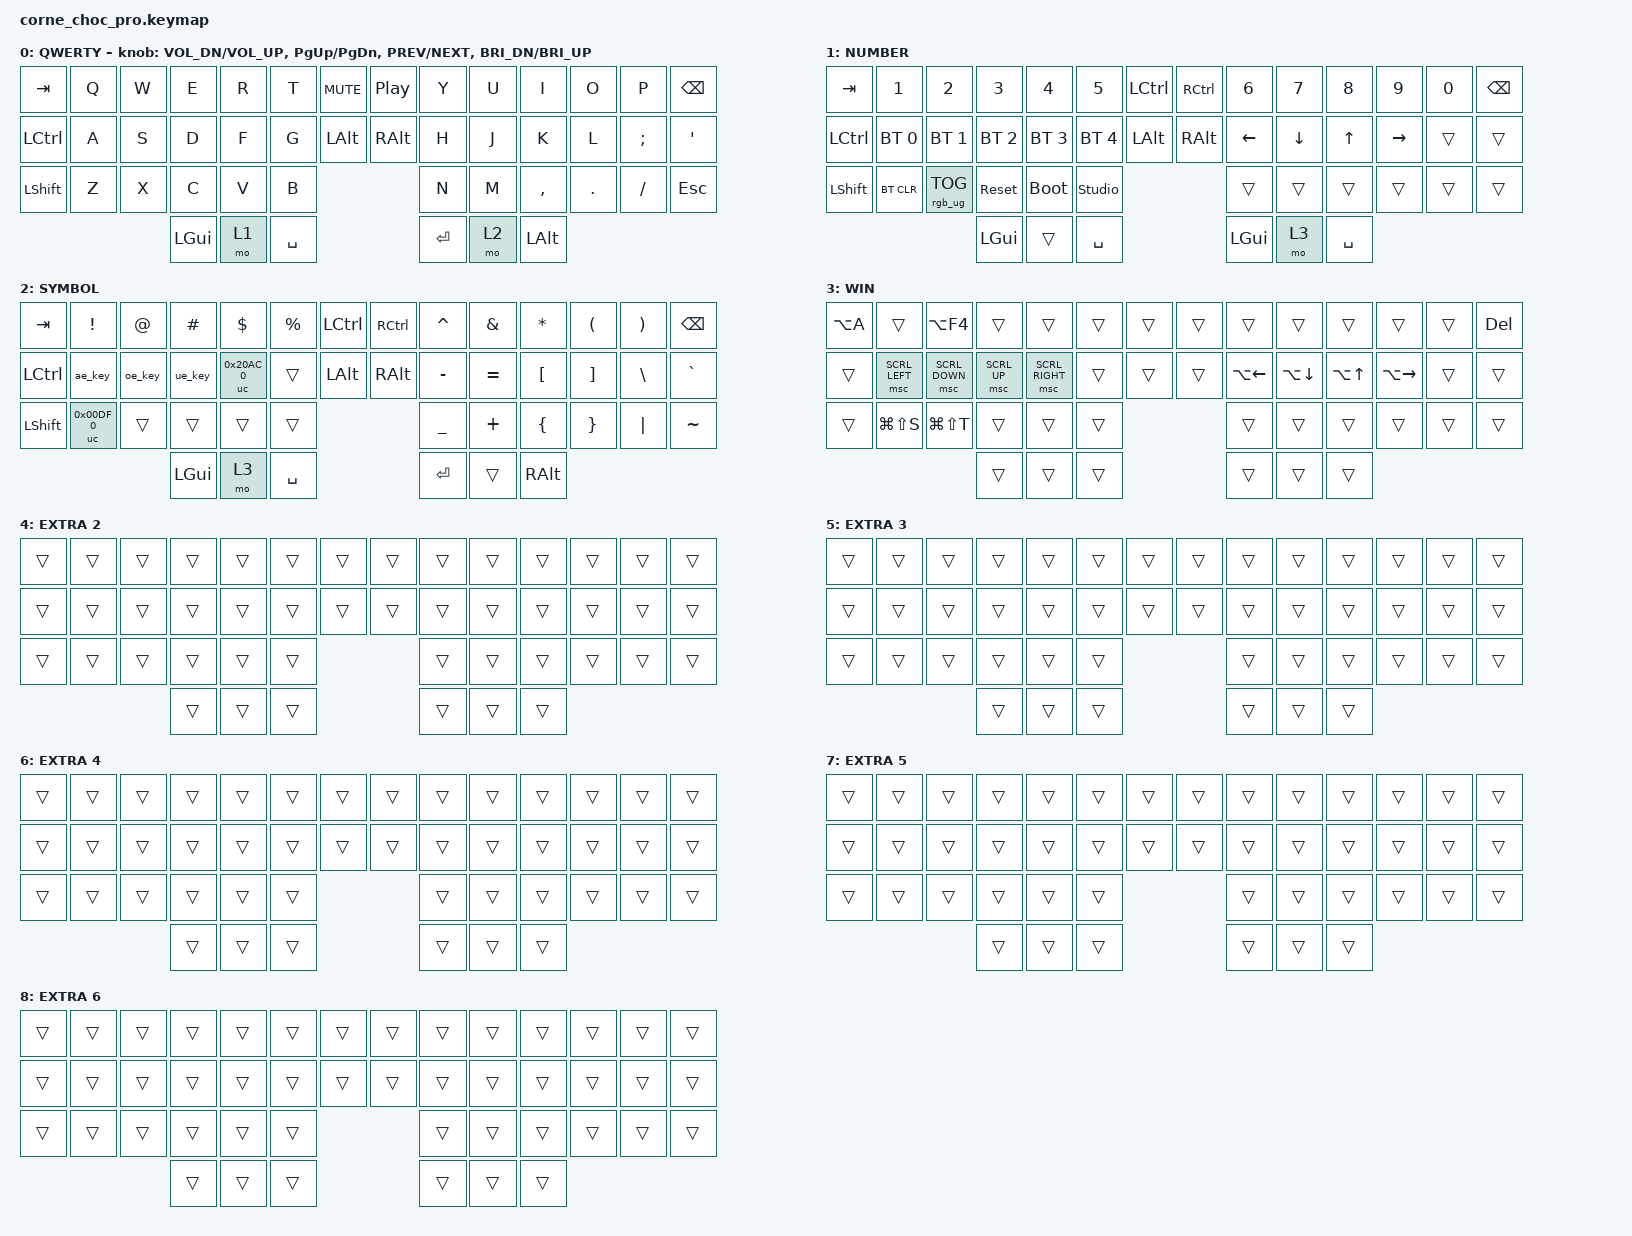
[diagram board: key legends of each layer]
/*
 * Copyright (c) 2020 The ZMK Contributors
 *
 * SPDX-License-Identifier: MIT
 */

#include <behaviors.dtsi>
#include <dt-bindings/zmk/keys.h>
#include <dt-bindings/zmk/bt.h>
#include <dt-bindings/zmk/rgb.h>
#include <dt-bindings/zmk/pointing.h>
#include <behaviors/unicode.dtsi>

/ {
    behaviors {
        ae_key: ae_key {
            compatible = "zmk,behavior-mod-morph";
            #binding-cells = <0>;
            bindings = <&uc 0x00E4 0>, <&uc 0x00C4 0>; /* ä / Ä */
            mods = <(MOD_LSFT|MOD_RSFT)>;
        };
        oe_key: oe_key {
            compatible = "zmk,behavior-mod-morph";
            #binding-cells = <0>;
            bindings = <&uc 0x00F6 0>, <&uc 0x00D6 0>; /* ö / Ö */
            mods = <(MOD_LSFT|MOD_RSFT)>;
        };
        ue_key: ue_key {
            compatible = "zmk,behavior-mod-morph";
            #binding-cells = <0>;
            bindings = <&uc 0x00FC 0>, <&uc 0x00DC 0>; /* ü / Ü */
            mods = <(MOD_LSFT|MOD_RSFT)>;
        };
    };
    chosen {
        zmk,physical-layout = &default_layout;
    };

    keymap {
        compatible = "zmk,keymap";

        default_layer {
            display-name = "QWERTY";
            // --------------------------------------------------------------------------------
            // |  TAB |  Q  |  W  |  E  |  R  |  T  |  MUTE |  PP   |  Y  |  U   |  I  |  O  |  P  | BSPC |
            // | CTRL |  A  |  S  |  D  |  F  |  G  |  LALT |  RALT |  H  |  J   |  K  |  L  |  ;  |  '   |
            // | SHFT |  Z  |  X  |  C  |  V  |  B  |               |  N  |  M   |  ,  |  .  |  /  | ESC  |
            //                    | GUI | LWR | SPC |               | ENT | RSE  | ALT |
            bindings = <
                &kp TAB   &kp Q &kp W &kp E &kp R &kp T &kp C_MUTE &kp C_PP &kp Y &kp U  &kp I     &kp O   &kp P    &kp BSPC
                &kp LCTRL &kp A &kp S &kp D &kp F &kp G &kp LALT   &kp RALT &kp H &kp J  &kp K     &kp L   &kp SEMI &kp SQT
                &kp LSHFT &kp Z &kp X &kp C &kp V &kp B                     &kp N &kp M  &kp COMMA &kp DOT &kp FSLH &kp ESC
                                      &kp LGUI &mo 1 &kp SPACE              &kp RET &mo 2 &kp LALT
            >;
            sensor-bindings = <&inc_dec_kp C_VOL_DN C_VOL_UP &inc_dec_kp PG_UP PG_DN &inc_dec_kp C_PREV C_NEXT &inc_dec_kp C_BRI_DN C_BRI_UP>;
        };

        lower_layer {
            display-name = "NUMBER";
            // -----------------------------------------------------------------------------------------
            // |  TAB |  1  |  2  |  3  |  4  |  5    |  LCTRL | RCTRL |  6  |  7  |  8  |  9  |  0  | BSPC |
            // | CTRL | BT1 | BT2 | BT3 | BT4 | BT5   |  LALT  | RALT  | LFT | DWN |  UP | RGT |     |      |
            // | SHFT | BTCR| RGB | RST | BOOT| Unlock|        |       |     |     |     |     |     |      |
            //                    | GUI |     | SPC   |        | ENT   |     | ALT |
            bindings = <
                &kp TAB   &kp N1       &kp N2          &kp N3       &kp N4       &kp N5       &kp LCTRL &kp RCTRL &kp N6   &kp N7   &kp N8 &kp N9    &kp N0 &kp BSPC
                &kp LCTRL &bt BT_SEL 0 &bt BT_SEL 1    &bt BT_SEL 2 &bt BT_SEL 3 &bt BT_SEL 4 &kp LALT  &kp RALT  &kp LEFT &kp DOWN &kp UP &kp RIGHT &trans &trans
                &kp LSHFT &bt BT_CLR   &rgb_ug RGB_TOG &sys_reset   &bootloader  &studio_unlock                   &trans   &trans   &trans &trans    &trans &trans
                                                       &kp LGUI     &trans       &kp SPACE                        &kp LGUI &mo 3    &kp SPACE
            >;
        };

        raise_layer {
            display-name = "SYMBOL";
            // -----------------------------------------------------------------------------------------
            // |  TAB |  !  |  @  |  #  |  $  |  %  | LCTRL | RCTRL |  ^  |  &  |  *  |  (  |  )  | BSPC |
            // | CTRL |  ä  |  ö  |  ü  |  €  |     |  LALT | RALT  |  -  |  =  |  [  |  ]  |  \  |  `   |
            // | SHFT |  ß  |     |     |     |     |               |  _  |  +  |  {  |  }  | "|" |  ~   |
            //                    | GUI |     | SPC |               | ENT |     | ALT |
            bindings = <
                &kp  TAB  &kp EXCL &kp AT &kp HASH &kp DLLR &kp PRCNT &kp LCTRL &kp RCTRL &kp CARET &kp AMPS  &kp ASTRK &kp LPAR &kp RPAR &kp BSPC
                &kp LCTRL &ae_key  &oe_key  &ue_key &uc 0x20AC 0 &trans &kp LALT &kp RALT &kp MINUS &kp EQUAL &kp LBKT &kp RBKT &kp BSLH &kp GRAVE
                &kp LSHFT &uc 0x00DF 0 &trans &trans   &trans   &trans                        &kp UNDER &kp PLUS  &kp LBRC &kp RBRC &kp PIPE &kp TILDE
                                          &kp LGUI &mo 3    &kp SPACE                     &kp RET   &trans    &kp RALT
            >;
        };

        extra_layer_1 {
            display-name = "WIN";
            bindings = <
                &kp LA(A) &trans          &kp LA(F4)      &trans        &trans          &trans &trans &trans &trans       &trans        &trans      &trans        &trans &kp DELETE
                &trans    &msc SCRL_LEFT  &msc SCRL_DOWN  &msc SCRL_UP  &msc SCRL_RIGHT &trans &trans &trans &kp LA(LEFT) &kp LA(DOWN)  &kp LA(UP)  &kp LA(RIGHT) &trans &trans
                &trans    &kp LG(LS(S))   &kp LG(LS(T))   &trans        &trans          &trans               &trans       &trans        &trans      &trans        &trans &trans
                                                          &trans        &trans          &trans               &trans       &trans        &trans
            >;
        };

        extra_layer_2 {
            display-name = "EXTRA 2";
            bindings = <
                &trans &trans &trans &trans &trans &trans &trans &trans &trans &trans &trans &trans &trans &trans
                &trans &trans &trans &trans &trans &trans &trans &trans &trans &trans &trans &trans &trans &trans
                &trans &trans &trans &trans &trans &trans               &trans &trans &trans &trans &trans &trans
                                     &trans &trans &trans               &trans &trans &trans       
            >;
        };

        extra_layer_3 {
            display-name = "EXTRA 3";
            bindings = <
                &trans &trans &trans &trans &trans &trans &trans &trans &trans &trans &trans &trans &trans &trans
                &trans &trans &trans &trans &trans &trans &trans &trans &trans &trans &trans &trans &trans &trans
                &trans &trans &trans &trans &trans &trans               &trans &trans &trans &trans &trans &trans
                                     &trans &trans &trans               &trans &trans &trans       
            >;
        };

        extra_layer_4 {
            display-name = "EXTRA 4";
            bindings = <
                &trans &trans &trans &trans &trans &trans &trans &trans &trans &trans &trans &trans &trans &trans
                &trans &trans &trans &trans &trans &trans &trans &trans &trans &trans &trans &trans &trans &trans
                &trans &trans &trans &trans &trans &trans               &trans &trans &trans &trans &trans &trans
                                     &trans &trans &trans               &trans &trans &trans       
            >;
        };

        extra_layer_5 {
            display-name = "EXTRA 5";
            bindings = <
                &trans &trans &trans &trans &trans &trans &trans &trans &trans &trans &trans &trans &trans &trans
                &trans &trans &trans &trans &trans &trans &trans &trans &trans &trans &trans &trans &trans &trans
                &trans &trans &trans &trans &trans &trans               &trans &trans &trans &trans &trans &trans
                                     &trans &trans &trans               &trans &trans &trans       
            >;
        };

        extra_layer_6 {
            display-name = "EXTRA 6";
            bindings = <
                &trans &trans &trans &trans &trans &trans &trans &trans &trans &trans &trans &trans &trans &trans
                &trans &trans &trans &trans &trans &trans &trans &trans &trans &trans &trans &trans &trans &trans
                &trans &trans &trans &trans &trans &trans               &trans &trans &trans &trans &trans &trans
                                     &trans &trans &trans               &trans &trans &trans       
            >;
        };
    };
};
